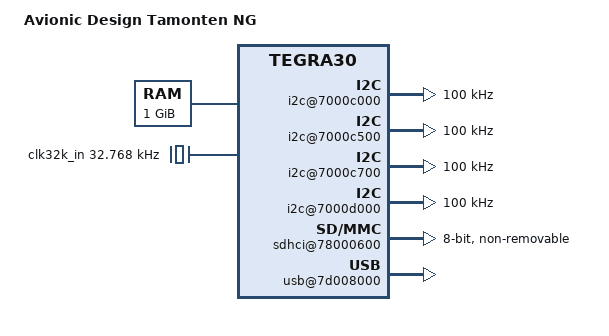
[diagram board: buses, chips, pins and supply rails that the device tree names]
#include "tegra30.dtsi"

/ {
	model = "Avionic Design Tamonten NG";
	compatible = "ad,tamonten-ng", "nvidia,tegra30";

	memory {
		reg = <0x80000000 0x40000000>;
	};

	chosen {
		stdout-path = &uartd;
	};

	aliases {
		i2c0 = "/i2c@7000c000";
		i2c1 = "/i2c@7000c700";
		i2c2 = "/i2c@7000c400";
		i2c3 = "/i2c@7000c500";
		i2c4 = "/i2c@7000d000";
		mmc0 = "/sdhci@78000600";
		mmc1 = "/sdhci@78000400";
		mmc2 = "/sdhci@78000000";
		usb0 = "/usb@7d008000";
	};

	/* GEN1 */
	i2c@7000c000 {
		status = "okay";
		clock-frequency = <100000>;
	};

	/* GEN2 */
	i2c@7000c400 {
		clock-frequency = <100000>;
	};

	/* CAM */
	i2c@7000c500 {
		status = "okay";
		clock-frequency = <100000>;
	};

	/* DDC */
	i2c@7000c700 {
		status = "okay";
		clock-frequency = <100000>;
	};

	/* PWR */
	i2c@7000d000 {
		status = "okay";
		clock-frequency = <100000>;
	};

	/* SD slot on the base board */
	sdhci@78000400 {
		cd-gpios = <&gpio TEGRA_GPIO(I, 5) GPIO_ACTIVE_LOW>;
		wp-gpios = <&gpio TEGRA_GPIO(I, 3) GPIO_ACTIVE_HIGH>;
		bus-width = <4>;
	};

	/* EMMC on the COM module */
	sdhci@78000600 {
		status = "okay";
		bus-width = <8>;
		non-removable;
	};

	usb@7d008000 {
		status = "okay";
	};

	clocks {
		compatible = "simple-bus";
		#address-cells = <1>;
		#size-cells = <0>;

		clk32k_in: clk@0 {
			compatible = "fixed-clock";
			reg=<0>;
			#clock-cells = <0>;
			clock-frequency = <32768>;
		};
	};
};
